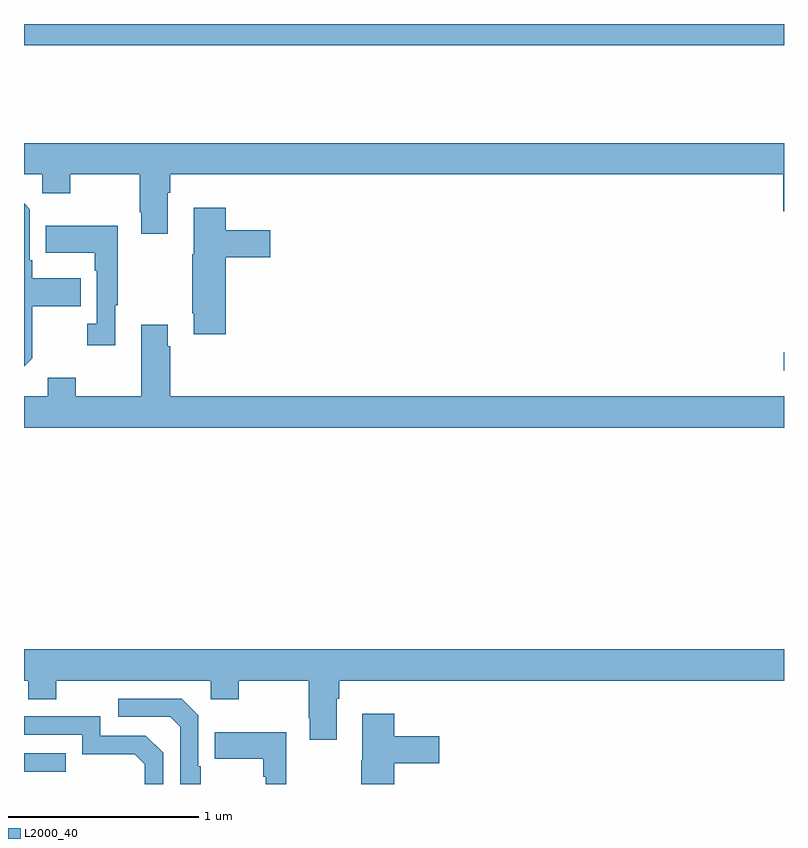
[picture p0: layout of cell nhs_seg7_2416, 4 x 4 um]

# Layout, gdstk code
import gdstk
lib = gdstk.Library(unit=1e-6, precision=1e-09)
def R(c, l, rs):  # rectangles x0, y0, x1, y1
    for r in rs: c.add(gdstk.rectangle(r[:2], r[2:], *l))
def P(c, l, *ps):  # polygons
    for p in ps: c.add(gdstk.Polygon(p, *l))
L2000_40 = (2000, 40)

nhs_seg7_2416 = lib.new_cell('nhs_seg7_2416')
R(nhs_seg7_2416, L2000_40, [(267,1072.065,267.221,1072.161), (270.999,1074.176,271,1074.273), (267,1075.888,271,1076)])
P(nhs_seg7_2416, L2000_40, [(267.757,1075.112),(267.77,1075.112),(267.77,1075.208),(270.995,1075.208),(270.995,1075.014),(271,1075.014),(271,1075.372),(267,1075.372),(267,1075.208),(267.096,1075.208),(267.096,1075.109),(267.243,1075.109),(267.243,1075.208),(267.61,1075.208),(267.61,1075.009),(267.617,1075.009),(267.617,1074.897),(267.757,1074.897)],
  [(267.043,1074.241),(267.043,1074.514),(267.299,1074.514),(267.299,1074.661),(267.043,1074.661),(267.043,1074.757),(267.03,1074.757),(267.03,1075.026),(267,1075.056),(267,1074.198)],
  [(268.061,1074.773),(268.297,1074.773),(268.297,1074.915),(268.061,1074.915),(268.061,1075.033),(267.893,1075.033),(267.893,1074.789),(267.886,1074.789),(267.886,1074.478),(267.893,1074.478),(267.893,1074.366),(268.061,1074.366)],
  [(267.481,1074.521),(267.493,1074.521),(267.493,1074.937),(267.115,1074.937),(267.115,1074.797),(267.372,1074.797),(267.372,1074.701),(267.384,1074.701),(267.384,1074.422),(267.333,1074.422),(267.333,1074.309),(267.481,1074.309)],
  [(271,1074.04),(267.77,1074.04),(267.77,1074.305),(267.757,1074.305),(267.757,1074.418),(267.617,1074.418),(267.617,1074.04),(267.273,1074.04),(267.273,1074.139),(267.125,1074.139),(267.125,1074.04),(267,1074.04),(267,1073.876),(271,1073.876)],
  [(268.645,1072.448),(268.658,1072.448),(268.658,1072.544),(271,1072.544),(271,1072.708),(267,1072.708),(267,1072.544),(267.023,1072.544),(267.023,1072.445),(267.171,1072.445),(267.171,1072.544),(267.984,1072.544),(267.984,1072.445),(268.131,1072.445),(268.131,1072.544),(268.498,1072.544),(268.498,1072.345),(268.505,1072.345),(268.505,1072.233),(268.645,1072.233)],
  [(267.931,1072.093),(267.918,1072.093),(267.918,1072.362),(267.831,1072.449),(267.495,1072.449),(267.495,1072.353),(267.771,1072.353),(267.822,1072.302),(267.822,1072),(267.931,1072)],
  [(268.949,1072.109),(269.185,1072.109),(269.185,1072.251),(268.949,1072.251),(268.949,1072.369),(268.781,1072.369),(268.781,1072.125),(268.774,1072.125),(268.774,1072),(268.949,1072)],
  [(267.732,1072.164),(267.642,1072.254),(267.402,1072.254),(267.402,1072.356),(267,1072.356),(267,1072.26),(267.306,1072.26),(267.306,1072.157),(267.583,1072.157),(267.636,1072.104),(267.636,1072),(267.732,1072)],
  [(268.381,1072.273),(268.003,1072.273),(268.003,1072.133),(268.26,1072.133),(268.26,1072.037),(268.272,1072.037),(268.272,1072),(268.381,1072)])

lib.write_gds('nhs_seg7_2416.gds')
